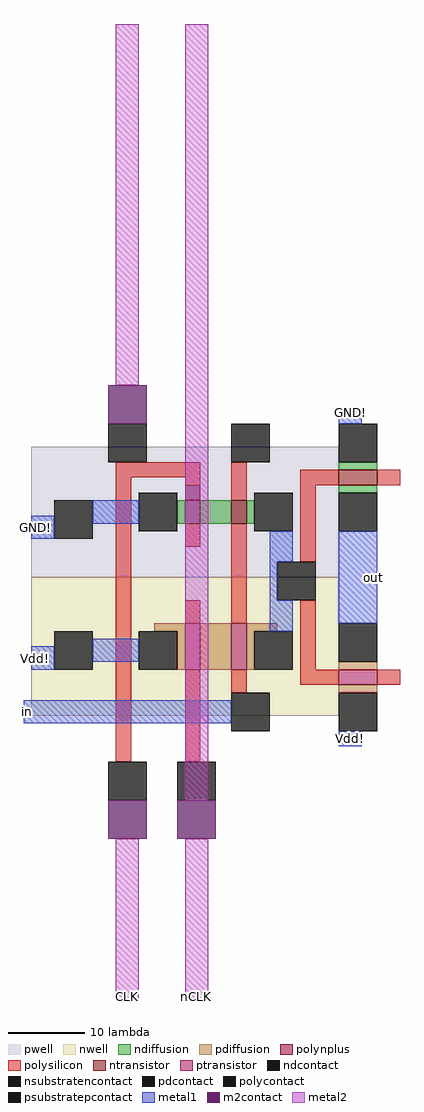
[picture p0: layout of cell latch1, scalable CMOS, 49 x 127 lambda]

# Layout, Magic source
magic
tech scmos
<< nwell >>
rect 3 33 43 51
<< pwell >>
rect 3 51 43 68
<< ntransistor >>
rect 43 63 48 65
rect 23 58 25 61
rect 29 58 31 61
<< ptransistor >>
rect 23 39 25 45
rect 29 39 31 45
rect 43 37 48 39
<< ndiffusion >>
rect 43 65 48 66
rect 22 58 23 61
rect 25 58 29 61
rect 31 58 32 61
rect 43 62 48 63
<< pdiffusion >>
rect 19 44 23 45
rect 22 39 23 44
rect 25 39 29 45
rect 31 44 35 45
rect 31 39 32 44
rect 43 39 48 40
rect 43 36 48 37
<< ndcontact >>
rect 43 66 48 71
rect 17 57 22 62
rect 32 57 37 62
rect 43 57 48 62
<< pdcontact >>
rect 17 39 22 44
rect 32 39 37 44
rect 43 40 48 45
rect 43 31 48 36
<< psubstratepcontact >>
rect 6 56 11 61
<< nsubstratencontact >>
rect 6 39 11 44
<< polysilicon >>
rect 14 64 25 66
rect 14 27 16 64
rect 23 63 25 64
rect 29 61 31 66
rect 38 63 43 65
rect 48 63 51 65
rect 23 55 25 58
rect 23 45 25 48
rect 29 45 31 58
rect 38 53 40 63
rect 38 39 40 48
rect 23 27 25 39
rect 29 36 31 39
rect 38 37 43 39
rect 48 37 51 39
<< polycontact >>
rect 13 66 18 71
rect 29 66 34 71
rect 35 48 40 53
rect 29 31 34 36
rect 13 22 18 27
rect 22 22 27 27
<< polynplus >>
rect 23 61 25 63
<< metal1 >>
rect 43 71 46 73
rect 3 56 6 59
rect 11 58 17 61
rect 34 53 37 57
rect 34 48 35 53
rect 34 44 37 48
rect 3 39 6 42
rect 11 40 17 43
rect 43 45 48 57
rect 2 32 29 35
rect 43 29 46 31
<< m2contact >>
rect 13 71 18 76
rect 13 17 18 22
rect 22 17 27 22
<< metal2 >>
rect 14 76 17 123
rect 23 22 26 123
rect 14 -4 17 17
rect 23 -4 26 17
<< labels >>
rlabel metal1 3 57 4 58 3 GND!
rlabel metal1 3 40 4 41 3 Vdd!
rlabel metal1 2 33 3 34 3 in
rlabel metal2 24 -4 25 -3 1 nCLK
rlabel metal2 15 -4 16 -3 1 CLK
rlabel metal1 43 72 46 73 1 GND!
rlabel metal1 43 29 46 31 5 Vdd!
rlabel metal1 47 50 48 52 3 out
<< end >>
